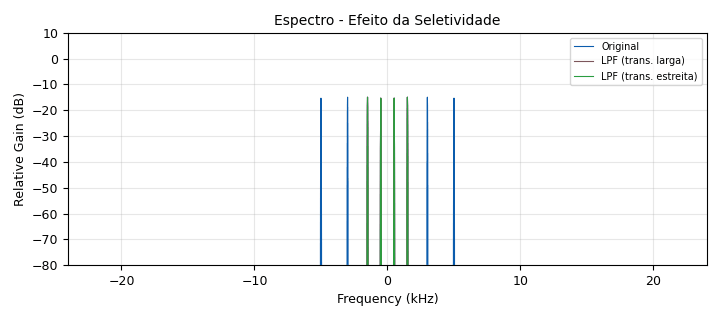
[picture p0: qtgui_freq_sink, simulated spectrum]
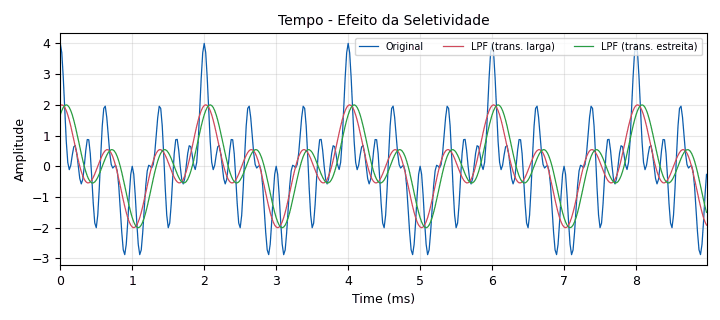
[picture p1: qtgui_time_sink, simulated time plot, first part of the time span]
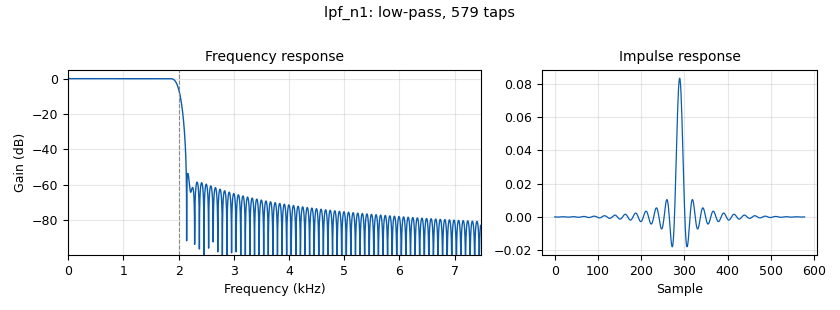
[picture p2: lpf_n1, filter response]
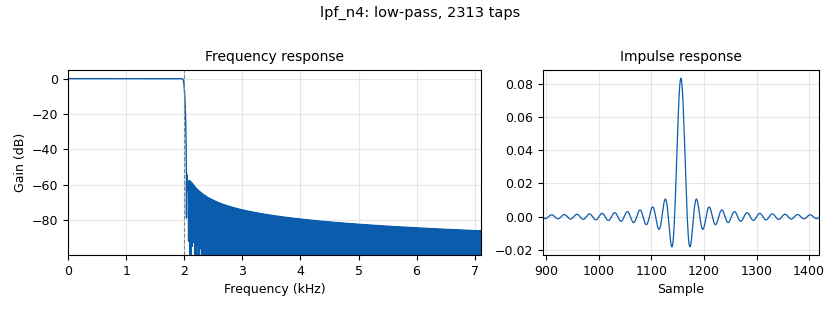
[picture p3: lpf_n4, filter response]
options:
  parameters:
    author: Curso PriCom - UnB
    comment: |-
      Exemplo 04 - Efeito da Ordem do Filtro Butterworth
      Sinal com 4 componentes (500, 1500, 3000, 5000 Hz) passa por Butterworth de ordens 1, 2, 4 e 8. Compare a atenuacao das componentes fora da banda.
    description: Efeito da Ordem do Butterworth
    generate_options: qt_gui
    id: exemplo_04_butterworth_ordens
    output_language: python
    title: Exemplo 04 - Butterworth Ordens 1, 2, 4, 8
  states: {}

blocks:
- name: cutoff
  id: variable
  parameters:
    comment: Frequencia de corte do Butterworth
    value: '2000'
  states: {}
- name: samp_rate
  id: variable
  parameters:
    comment: Taxa de amostragem
    value: '48000'
  states: {}
- name: note_info
  id: note
  parameters:
    comment: 'BUTTERWORTH - EFEITO DA ORDEM: sinal com 500, 1500, 3000, 5000 Hz. Filtro Butterworth fc=2kHz. Ordens 1,2,4,8. Observe a atenuacao crescente das componentes acima de fc.'
    note: Efeito da Ordem
  states: {}
- name: cos_500
  id: analog_sig_source_x
  parameters:
    amp: '1'
    comment: 500 Hz
    freq: '500'
    offset: '0'
    phase: '0'
    samp_rate: samp_rate
    type: float
    waveform: analog.GR_COS_WAVE
  states: {}
- name: cos_1500
  id: analog_sig_source_x
  parameters:
    amp: '1'
    comment: 1500 Hz
    freq: '1500'
    offset: '0'
    phase: '0'
    samp_rate: samp_rate
    type: float
    waveform: analog.GR_COS_WAVE
  states: {}
- name: cos_3000
  id: analog_sig_source_x
  parameters:
    amp: '1'
    comment: 3000 Hz
    freq: '3000'
    offset: '0'
    phase: '0'
    samp_rate: samp_rate
    type: float
    waveform: analog.GR_COS_WAVE
  states: {}
- name: cos_5000
  id: analog_sig_source_x
  parameters:
    amp: '1'
    comment: 5000 Hz
    freq: '5000'
    offset: '0'
    phase: '0'
    samp_rate: samp_rate
    type: float
    waveform: analog.GR_COS_WAVE
  states: {}
- name: blocks_add
  id: blocks_add_xx
  parameters:
    comment: Soma das 4 componentes
    num_inputs: '4'
    type: float
  states: {}
- name: blocks_throttle
  id: blocks_throttle2
  parameters:
    samples_per_second: samp_rate
    type: float
  states: {}
- name: lpf_n1
  id: low_pass_filter
  parameters:
    comment: Butterworth ordem 1 (aproximado por FIR)
    cutoff_freq: cutoff
    decim: '1'
    gain: '1'
    samp_rate: samp_rate
    type: fir_filter_fff
    width: '200'
    win: window.WIN_HAMMING
  states: {}
- name: lpf_n4
  id: low_pass_filter
  parameters:
    comment: LPF com transicao mais estreita (mais seletivo)
    cutoff_freq: cutoff
    decim: '1'
    gain: '1'
    samp_rate: samp_rate
    type: fir_filter_fff
    width: '50'
    win: window.WIN_HAMMING
  states: {}
- name: qtgui_freq_sink
  id: qtgui_freq_sink_x
  parameters:
    bw: samp_rate
    comment: 'Compare: original vs filtros de diferentes seletividades'
    fc: '0'
    fftsize: '4096'
    grid: 'True'
    gui_hint: 0,0,1,1
    label1: Original
    label2: LPF (trans. larga)
    label3: LPF (trans. estreita)
    name: '"Espectro - Efeito da Seletividade"'
    nconnections: '3'
    type: float
    width1: '2'
    width2: '2'
    width3: '2'
    ymin: '-80'
  states: {}
- name: qtgui_time_sink
  id: qtgui_time_sink_x
  parameters:
    autoscale: 'True'
    grid: 'True'
    gui_hint: 1,0,1,1
    label1: Original
    label2: LPF (trans. larga)
    label3: LPF (trans. estreita)
    name: '"Tempo - Efeito da Seletividade"'
    nconnections: '3'
    size: '2048'
    srate: samp_rate
    type: float
    width1: '2'
    width2: '2'
    width3: '2'
    ymax: '4'
    ymin: '-4'
  states: {}

connections:
- [cos_500, '0', blocks_add, '0']
- [cos_1500, '0', blocks_add, '1']
- [cos_3000, '0', blocks_add, '2']
- [cos_5000, '0', blocks_add, '3']
- [blocks_add, '0', blocks_throttle, '0']
- [blocks_throttle, '0', qtgui_freq_sink, '0']
- [blocks_throttle, '0', qtgui_time_sink, '0']
- [blocks_throttle, '0', lpf_n1, '0']
- [blocks_throttle, '0', lpf_n4, '0']
- [lpf_n1, '0', qtgui_freq_sink, '1']
- [lpf_n1, '0', qtgui_time_sink, '1']
- [lpf_n4, '0', qtgui_freq_sink, '2']
- [lpf_n4, '0', qtgui_time_sink, '2']

metadata:
  file_format: 1
  grc_version: 3.10.12.0
